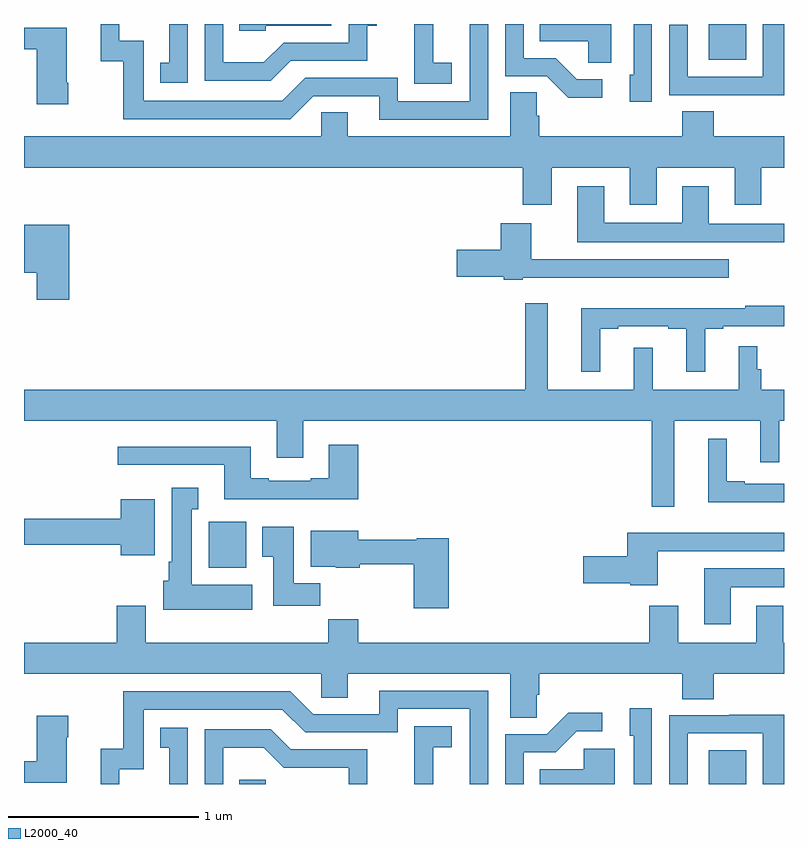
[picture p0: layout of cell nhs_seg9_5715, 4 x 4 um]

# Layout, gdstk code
import gdstk
lib = gdstk.Library(unit=1e-6, precision=1e-09)
def R(c, l, rs):  # rectangles x0, y0, x1, y1
    for r in rs: c.add(gdstk.rectangle(r[:2], r[2:], *l))
def P(c, l, *ps):  # polygons
    for p in ps: c.add(gdstk.Polygon(p, *l))
L2000_40 = (2000, 40)

nhs_seg9_5715 = lib.new_cell('nhs_seg9_5715')
R(nhs_seg9_5715, L2000_40, [(444.133,1202.5,444.273,1202.523), (446.603,1202.5,446.8,1202.677), (443.972,1203.638,444.169,1203.88), (446.603,1206.311,446.8,1206.5)])
P(nhs_seg9_5715, L2000_40, [(445.443,1206.5),(445.347,1206.5),(445.347,1206.093),(444.966,1206.093),(444.966,1206.216),(444.48,1206.216),(444.36,1206.096),(443.631,1206.096),(443.631,1206.411),(443.502,1206.411),(443.502,1206.5),(443.405,1206.5),(443.405,1206.303),(443.523,1206.303),(443.523,1206),(444.402,1206),(444.522,1206.12),(444.869,1206.12),(444.869,1205.997),(445.443,1205.997)],
  [(446.304,1206.5),(446.208,1206.5),(446.208,1206.234),(446.189,1206.234),(446.189,1206.09),(446.304,1206.09)],
  [(443.862,1206.5),(443.765,1206.5),(443.765,1206.297),(443.716,1206.297),(443.716,1206.192),(443.862,1206.192)],
  [(444.403,1206.306),(444.807,1206.306),(444.807,1206.491),(444.856,1206.491),(444.856,1206.5),(444.708,1206.5),(444.708,1206.402),(444.366,1206.402),(444.262,1206.298),(444.048,1206.298),(444.048,1206.5),(443.952,1206.5),(443.952,1206.201),(444.298,1206.201)],
  [(446.044,1206.21),(445.909,1206.21),(445.798,1206.321),(445.629,1206.321),(445.629,1206.5),(445.533,1206.5),(445.533,1206.225),(445.752,1206.225),(445.865,1206.113),(446.044,1206.113)],
  [(444.273,1206.492),(444.618,1206.492),(444.618,1206.5),(444.133,1206.5),(444.133,1206.465),(444.273,1206.465)],
  [(445.252,1206.295),(445.154,1206.295),(445.154,1206.5),(445.055,1206.5),(445.055,1206.391),(445.054,1206.391),(445.054,1206.185),(445.252,1206.185)],
  [(447,1206.5),(446.889,1206.5),(446.889,1206.222),(446.493,1206.222),(446.493,1206.496),(446.397,1206.496),(446.397,1206.126),(446.713,1206.126),(446.713,1206.125),(447,1206.125)],
  [(446.092,1206.5),(445.714,1206.5),(445.714,1206.41),(445.971,1206.41),(445.971,1206.295),(446.092,1206.295)],
  [(443.232,1206.19),(443.224,1206.19),(443.224,1206.481),(443,1206.481),(443,1206.367),(443.066,1206.367),(443.066,1206.078),(443.232,1206.078)],
  [(445.625,1205.55),(445.777,1205.55),(445.777,1205.744),(446.189,1205.744),(446.189,1205.55),(446.329,1205.55),(446.329,1205.744),(446.741,1205.744),(446.741,1205.55),(446.881,1205.55),(446.881,1205.744),(447,1205.744),(447,1205.908),(446.63,1205.908),(446.63,1206.041),(446.465,1206.041),(446.465,1205.908),(445.712,1205.908),(445.712,1206.017),(445.698,1206.017),(445.698,1206.14),(445.559,1206.14),(445.559,1205.908),(444.703,1205.908),(444.703,1206.035),(444.564,1206.035),(444.564,1205.908),(443,1205.908),(443,1205.744),(445.625,1205.744)],
  [(447,1205.448),(446.605,1205.448),(446.605,1205.647),(446.465,1205.647),(446.465,1205.453),(446.053,1205.453),(446.053,1205.647),(445.913,1205.647),(445.913,1205.352),(447,1205.352)],
  [(445.624,1205.165),(446.71,1205.165),(446.71,1205.262),(445.669,1205.262),(445.669,1205.452),(445.508,1205.452),(445.508,1205.313),(445.278,1205.313),(445.278,1205.171),(445.524,1205.171),(445.524,1205.154),(445.624,1205.154)],
  [(443.237,1205.443),(443,1205.443),(443,1205.192),(443.066,1205.192),(443.066,1205.049),(443.237,1205.049)],
  [(446.423,1204.412),(446.876,1204.412),(446.876,1204.194),(446.975,1204.194),(446.975,1204.412),(447,1204.412),(447,1204.576),(446.879,1204.576),(446.879,1204.682),(446.86,1204.682),(446.86,1204.804),(446.762,1204.804),(446.762,1204.576),(446.309,1204.576),(446.309,1204.795),(446.21,1204.795),(446.21,1204.576),(445.757,1204.576),(445.757,1205.029),(445.639,1205.029),(445.639,1204.576),(443,1204.576),(443,1204.412),(444.329,1204.412),(444.329,1204.218),(444.469,1204.218),(444.469,1204.412),(446.305,1204.412),(446.305,1203.96),(446.423,1203.96)],
  [(446.033,1204.896),(446.128,1204.896),(446.128,1204.908),(446.39,1204.908),(446.39,1204.896),(446.486,1204.896),(446.486,1204.671),(446.585,1204.671),(446.585,1204.896),(446.68,1204.896),(446.68,1204.908),(447,1204.908),(447,1205.017),(446.797,1205.017),(446.797,1205.005),(445.934,1205.005),(445.934,1204.671),(446.033,1204.671)],
  [(447,1204.08),(446.794,1204.08),(446.794,1204.093),(446.699,1204.093),(446.699,1204.318),(446.6,1204.318),(446.6,1203.983),(447,1203.983)],
  [(444.758,1204.285),(444.605,1204.285),(444.605,1204.108),(444.509,1204.108),(444.509,1204.095),(444.289,1204.095),(444.289,1204.108),(444.193,1204.108),(444.193,1204.276),(443.493,1204.276),(443.493,1204.179),(444.053,1204.179),(444.053,1203.998),(444.758,1203.998)],
  [(444.202,1203.55),(443.884,1203.55),(443.884,1203.947),(443.917,1203.947),(443.917,1204.06),(443.777,1204.06),(443.777,1203.67),(443.762,1203.67),(443.762,1203.57),(443.732,1203.57),(443.732,1203.416),(444.202,1203.416)],
  [(443.689,1204),(443.51,1204),(443.51,1203.896),(443,1203.896),(443,1203.76),(443.51,1203.76),(443.51,1203.704),(443.689,1203.704)],
  [(444.56,1203.556),(444.421,1203.556),(444.421,1203.853),(444.254,1203.853),(444.254,1203.697),(444.311,1203.697),(444.311,1203.438),(444.56,1203.438)],
  [(445.235,1203.793),(445.068,1203.793),(445.068,1203.785),(444.76,1203.785),(444.76,1203.832),(444.509,1203.832),(444.509,1203.644),(444.642,1203.644),(444.642,1203.638),(444.768,1203.638),(444.768,1203.657),(445.052,1203.657),(445.052,1203.426),(445.235,1203.426)],
  [(446.335,1203.726),(447,1203.726),(447,1203.823),(446.174,1203.823),(446.174,1203.698),(445.944,1203.698),(445.944,1203.556),(446.19,1203.556),(446.19,1203.545),(446.335,1203.545)],
  [(446.719,1203.535),(447,1203.535),(447,1203.636),(446.579,1203.636),(446.579,1203.342),(446.719,1203.342)],
  [(445.698,1202.971),(445.712,1202.971),(445.712,1203.08),(446.465,1203.08),(446.465,1202.947),(446.63,1202.947),(446.63,1203.08),(447,1203.08),(447,1203.244),(446.995,1203.244),(446.995,1203.439),(446.855,1203.439),(446.855,1203.244),(446.443,1203.244),(446.443,1203.439),(446.291,1203.439),(446.291,1203.244),(444.758,1203.244),(444.758,1203.368),(444.601,1203.368),(444.601,1203.244),(443.641,1203.244),(443.641,1203.439),(443.489,1203.439),(443.489,1203.244),(443,1203.244),(443,1203.08),(444.564,1203.08),(444.564,1202.953),(444.703,1202.953),(444.703,1203.08),(445.559,1203.08),(445.559,1202.848),(445.698,1202.848)],
  [(443.502,1202.577),(443.631,1202.577),(443.631,1202.892),(444.36,1202.892),(444.48,1202.772),(444.966,1202.772),(444.966,1202.895),(445.347,1202.895),(445.347,1202.5),(445.443,1202.5),(445.443,1202.991),(444.869,1202.991),(444.869,1202.868),(444.522,1202.868),(444.402,1202.988),(443.523,1202.988),(443.523,1202.686),(443.405,1202.686),(443.405,1202.5),(443.502,1202.5)],
  [(446.304,1202.899),(446.189,1202.899),(446.189,1202.754),(446.208,1202.754),(446.208,1202.5),(446.304,1202.5)],
  [(445.629,1202.667),(445.798,1202.667),(445.909,1202.778),(446.044,1202.778),(446.044,1202.876),(445.865,1202.876),(445.752,1202.763),(445.533,1202.763),(445.533,1202.5),(445.629,1202.5)],
  [(446.493,1202.766),(446.889,1202.766),(446.889,1202.5),(447,1202.5),(447,1202.864),(446.713,1202.864),(446.713,1202.862),(446.397,1202.862),(446.397,1202.5),(446.493,1202.5)],
  [(443.224,1202.747),(443.232,1202.747),(443.232,1202.86),(443.066,1202.86),(443.066,1202.621),(443,1202.621),(443,1202.507),(443.224,1202.507)],
  [(445.154,1202.693),(445.252,1202.693),(445.252,1202.803),(445.054,1202.803),(445.054,1202.597),(445.055,1202.597),(445.055,1202.5),(445.154,1202.5)],
  [(443.862,1202.797),(443.716,1202.797),(443.716,1202.691),(443.765,1202.691),(443.765,1202.5),(443.862,1202.5)],
  [(444.048,1202.69),(444.262,1202.69),(444.366,1202.586),(444.708,1202.586),(444.708,1202.5),(444.807,1202.5),(444.807,1202.682),(444.403,1202.682),(444.298,1202.787),(443.952,1202.787),(443.952,1202.5),(444.048,1202.5)],
  [(446.11,1202.686),(445.945,1202.686),(445.945,1202.578),(445.714,1202.578),(445.714,1202.5),(446.11,1202.5)])

lib.write_gds('nhs_seg9_5715.gds')
